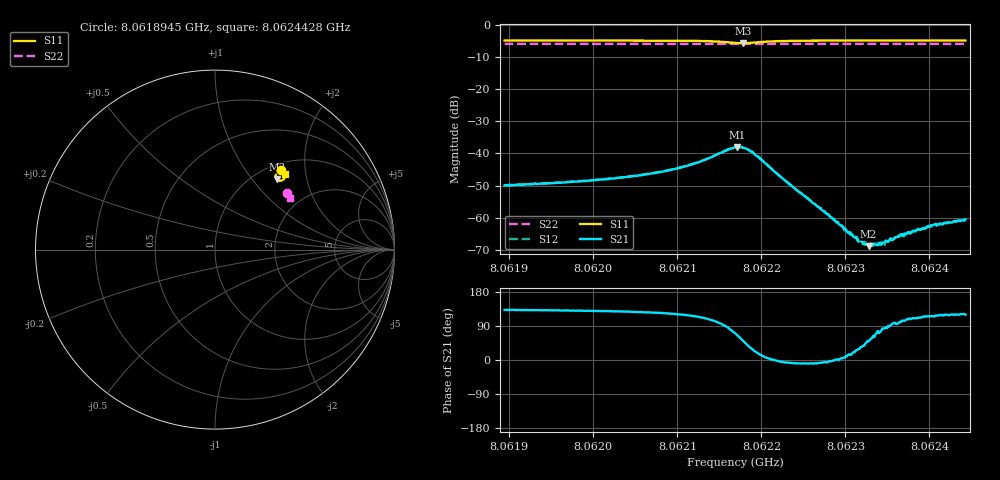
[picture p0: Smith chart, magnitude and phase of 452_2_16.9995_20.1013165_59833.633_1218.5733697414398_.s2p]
#  HZ  S  RI  R  50.00
! Rohde & Schwarz Vector Network Analyzer
! Rohde-Schwarz,ZNB20-2Port,1311601062101988,3.16
! Created: UTC 3/20/2024, 11:12:18 PM
! freq[Hz]  re:S11  im:S11  re:S21  im:S21  re:S12  im:S12  re:S22  im:S22
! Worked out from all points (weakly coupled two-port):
!   401 points, 8.0618945 GHz to 8.0624428 GHz, reference 50 ohm
!   highest |S21| = -38.01 dB at 8.0621714 GHz (marker M1); lowest = -68.9 dB at 8.0623276 GHz (marker M2)
!   lowest |S11| = -5.7 dB at 8.0621782 GHz (marker M3), VSWR 3.18, Z = 62.6 + j67.3 ohm
!   |S11| at or under -10 dB: nowhere
!   |S22| runs from -5.9 to -5.8 dB; largest |S21 - S12| = 0.0009
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8.06189451e9  0.3701 0.4414  -0.00215 0.00236  -0.00202 0.0025  0.3996 0.3175
8.06198634e9  0.3769 0.4353  -0.00239 0.00282  -0.00222 0.00299  0.4032 0.3128
8.06203431e9  0.3809 0.431  -0.0026 0.00333  -0.00242 0.0035  0.405 0.3103
8.06207817e9  0.385 0.4252  -0.00287 0.00419  -0.00264 0.00444  0.4066 0.3079
8.06212066e9  0.3891 0.414  -0.003 0.00627  -0.00264 0.00651  0.4081 0.3054
8.06216864e9  0.3628 0.3838  0.00407 0.0118  0.00483 0.0116  0.4078 0.3022
8.06217138e9  0.3575 0.3844  0.00526 0.0114  0.00597 0.0112  0.4079 0.3021
8.06217823e9  0.3453 0.3912  0.00776 0.00947  0.00841 0.00907  0.4076 0.3021
8.06218645e9  0.3379 0.4054  0.00911 0.00601  0.0096 0.0056  0.4078 0.3027
8.06219468e9  0.3392 0.4188  0.00853 0.00306  0.00889 0.00266  0.4083 0.3028
8.06222483e9  0.3594 0.4352  0.0041 -0.000376  0.0041 -0.000582  0.4105 0.3018
8.06226047e9  0.3718 0.4345  0.00171 -0.000262  0.00171 -0.000368  0.4121 0.2998
8.06229337e9  0.3781 0.432  0.000774 4.27e-05  0.000771 -1.88e-05  0.4136 0.2982
8.06230159e9  0.3793 0.4314  0.000612 9.8e-05  0.000617 9.53e-05  0.4139 0.2976
8.06231804e9  0.3813 0.4303  0.000355 0.00024  0.0004 0.000209  0.4145 0.2969
8.06232763e9  0.3825 0.4296  0.000234 0.000272  0.000249 0.000274  0.4147 0.2963
8.06233997e9  0.3838 0.4287  0.000124 0.00036  0.000104 0.000369  0.4153 0.2958
8.0623523e9  0.3848 0.4279  1.06e-05 0.000448  1.41e-05 0.000406  0.4157 0.2952
8.06236464e9  0.3861 0.4271  -9.87e-05 0.000528  -6.85e-05 0.000516  0.4162 0.2944
8.06239616e9  0.3886 0.4252  -0.000292 0.000619  -0.000259 0.000669  0.4173 0.2926
8.06240439e9  0.3894 0.4247  -0.000336 0.00068  -0.00029 0.000698  0.4176 0.2923
8.06244277e9  0.3921 0.4224  -0.00046 0.000808  -0.000457 0.000836  0.419 0.2903
